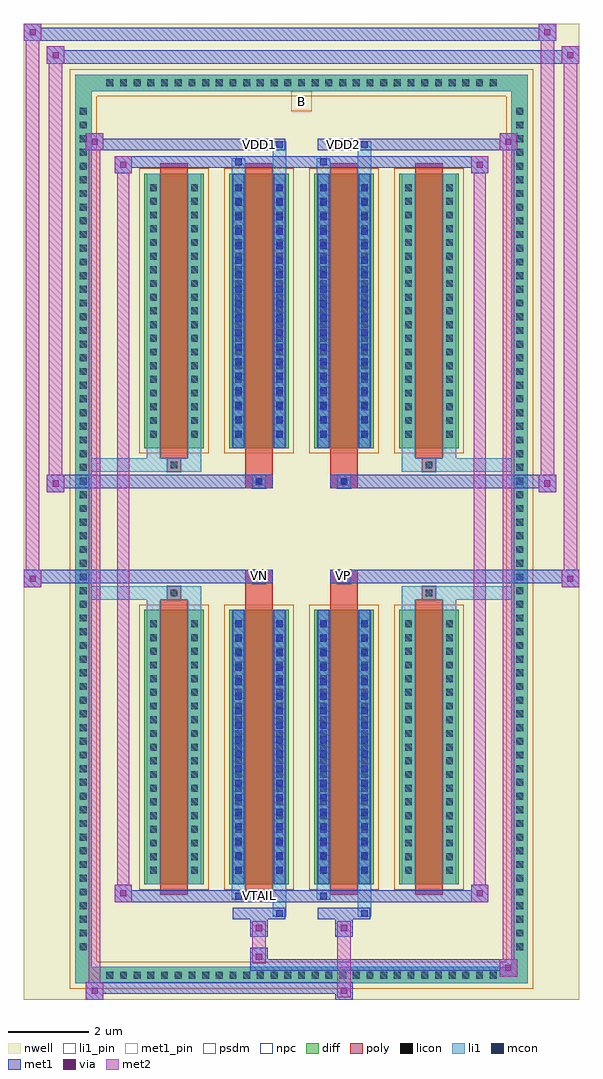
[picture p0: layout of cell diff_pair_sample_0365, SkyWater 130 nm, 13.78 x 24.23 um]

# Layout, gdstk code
import gdstk
lib = gdstk.Library(unit=1e-6, precision=5e-09)
def R(c, l, rs):  # rectangles x0, y0, x1, y1
    for r in rs: c.add(gdstk.rectangle(r[:2], r[2:], *l))
def A(c, l, x, y, w, h, nx, ny, dx, dy):  # array of equal rectangles
    R(c, l, [(x+i*dx, y+j*dy, x+i*dx+w, y+j*dy+h) for i in range(nx) for j in range(ny)])
def P(c, l, *ps):  # polygons
    for p in ps: c.add(gdstk.Polygon(p, *l))
nwell = (64, 20)
diff = (65, 20)
poly = (66, 20)
licon = (66, 44)
li1_pin = (67, 16)
li1 = (67, 20)
mcon = (67, 44)
met1_pin = (68, 16)
met1 = (68, 20)
via = (68, 44)
met2 = (69, 20)
psdm = (94, 20)
npc = (95, 20)

diff_pair_sample_0365 = lib.new_cell('diff_pair_sample_0365')
R(diff_pair_sample_0365, nwell, [(-6.89,-11.68,6.89,12.55), (-4.21,-9.87,-0.01,-0.815), (0.01,-9.87,4.21,-0.815), (-4.21,0.815,-0.01,9.87), (0.01,0.815,4.21,9.87)])
A(diff_pair_sample_0365, diff, -4.965, -11.28, 0.41, 0.41, 29, 2, 0.34, 22.15)
A(diff_pair_sample_0365, diff, -5.62, -10.575, 0.41, 0.41, 1, 62, 0, 0.34)
A(diff_pair_sample_0365, diff, 5.21, -10.575, 0.41, 0.41, 1, 62, 0, 0.34)
A(diff_pair_sample_0365, diff, -3.9, -8.825, 1.47, 6.82, 4, 2, 2.11, 10.83)
R(diff_pair_sample_0365, diff, [(-4.965,-11.28,4.965,-10.87), (-5.62,-10.575,-5.21,10.575), (5.21,-10.575,5.62,10.575), (-4.965,10.87,4.965,11.28)])
P(diff_pair_sample_0365, diff, [(5.62,11.28),(-5.62,11.28),(-5.62,-10.87),(-5.21,-10.87),(-5.21,10.87),(5.21,10.87),(5.21,-10.87),(-5.21,-10.87),(-5.62,-10.87),(-5.62,-11.28),(5.62,-11.28)])
A(diff_pair_sample_0365, poly, -3.51, -9.075, 0.69, 7.32, 4, 2, 2.11, 10.83)
R(diff_pair_sample_0365, poly, [(-3.33,-1.755,-3,-1.425), (-3.33,-1.755,-3,-1.425), (-1.4,-1.755,-0.71,-1.345), (0.71,-1.755,1.4,-1.345), (3,-1.755,3.33,-1.425), (3,-1.755,3.33,-1.425), (-1.4,-1.345,-0.71,-1.015), (-1.22,-1.345,-0.89,-1.015), (0.71,-1.345,1.4,-1.015), (0.89,-1.345,1.22,-1.015), (-1.4,1.015,-0.71,1.345), (-1.22,1.015,-0.89,1.345), (0.71,1.015,1.4,1.345), (0.89,1.015,1.22,1.345), (-1.4,1.345,-0.71,1.755), (0.71,1.345,1.4,1.755), (-3.33,1.425,-3,1.755), (-3.33,1.425,-3,1.755), (3,1.425,3.33,1.755), (3,1.425,3.33,1.755)])
A(diff_pair_sample_0365, licon, -4.845, -11.16, 0.17, 0.17, 29, 2, 0.34, 22.15)
A(diff_pair_sample_0365, licon, -5.5, -10.455, 0.17, 0.17, 1, 62, 0, 0.34)
A(diff_pair_sample_0365, licon, 5.33, -10.455, 0.17, 0.17, 1, 62, 0, 0.34)
A(diff_pair_sample_0365, licon, -3.76, -8.56, 0.17, 0.17, 1, 19, 0, 0.34)
A(diff_pair_sample_0365, licon, -2.74, -8.56, 0.17, 0.17, 1, 19, 0, 0.34)
A(diff_pair_sample_0365, licon, -1.65, -8.56, 0.17, 0.17, 1, 19, 0, 0.34)
A(diff_pair_sample_0365, licon, -0.63, -8.56, 0.17, 0.17, 1, 19, 0, 0.34)
A(diff_pair_sample_0365, licon, 0.46, -8.56, 0.17, 0.17, 1, 19, 0, 0.34)
A(diff_pair_sample_0365, licon, 1.48, -8.56, 0.17, 0.17, 1, 19, 0, 0.34)
A(diff_pair_sample_0365, licon, 2.57, -8.56, 0.17, 0.17, 1, 19, 0, 0.34)
A(diff_pair_sample_0365, licon, 3.59, -8.56, 0.17, 0.17, 1, 19, 0, 0.34)
A(diff_pair_sample_0365, licon, -3.76, 2.27, 0.17, 0.17, 1, 19, 0, 0.34)
A(diff_pair_sample_0365, licon, -2.74, 2.27, 0.17, 0.17, 1, 19, 0, 0.34)
A(diff_pair_sample_0365, licon, -1.65, 2.27, 0.17, 0.17, 1, 19, 0, 0.34)
A(diff_pair_sample_0365, licon, -0.63, 2.27, 0.17, 0.17, 1, 19, 0, 0.34)
A(diff_pair_sample_0365, licon, 0.46, 2.27, 0.17, 0.17, 1, 19, 0, 0.34)
A(diff_pair_sample_0365, licon, 1.48, 2.27, 0.17, 0.17, 1, 19, 0, 0.34)
A(diff_pair_sample_0365, licon, 2.57, 2.27, 0.17, 0.17, 1, 19, 0, 0.34)
A(diff_pair_sample_0365, licon, 3.59, 2.27, 0.17, 0.17, 1, 19, 0, 0.34)
R(diff_pair_sample_0365, licon, [(-3.25,-1.675,-3.08,-1.505), (3.08,-1.675,3.25,-1.505), (-1.14,-1.265,-0.97,-1.095), (0.97,-1.265,1.14,-1.095), (-1.14,1.095,-0.97,1.265), (0.97,1.095,1.14,1.265), (-3.25,1.505,-3.08,1.675), (3.08,1.505,3.25,1.675)])
R(diff_pair_sample_0365, li1_pin, [(-0.25,10.37,0.25,10.87)])
A(diff_pair_sample_0365, li1, -4.925, -11.24, 0.33, 0.33, 29, 2, 0.34, 22.15)
A(diff_pair_sample_0365, li1, -5.58, -10.535, 0.33, 0.33, 1, 62, 0, 0.34)
A(diff_pair_sample_0365, li1, 5.25, -10.535, 0.33, 0.33, 1, 62, 0, 0.34)
A(diff_pair_sample_0365, li1, -3.84, -8.64, 0.33, 0.33, 1, 19, 0, 0.34)
A(diff_pair_sample_0365, li1, -2.82, -8.64, 0.33, 0.33, 1, 19, 0, 0.34)
A(diff_pair_sample_0365, li1, -1.73, -8.64, 0.33, 0.33, 1, 19, 0, 0.34)
A(diff_pair_sample_0365, li1, -0.71, -8.64, 0.33, 0.33, 1, 19, 0, 0.34)
A(diff_pair_sample_0365, li1, 0.38, -8.64, 0.33, 0.33, 1, 19, 0, 0.34)
A(diff_pair_sample_0365, li1, 1.4, -8.64, 0.33, 0.33, 1, 19, 0, 0.34)
A(diff_pair_sample_0365, li1, 2.49, -8.64, 0.33, 0.33, 1, 19, 0, 0.34)
A(diff_pair_sample_0365, li1, 3.51, -8.64, 0.33, 0.33, 1, 19, 0, 0.34)
A(diff_pair_sample_0365, li1, -1.65, -8.56, 0.17, 0.17, 1, 18, 0, 0.36)
A(diff_pair_sample_0365, li1, -0.63, -8.56, 0.17, 0.17, 1, 18, 0, 0.36)
A(diff_pair_sample_0365, li1, 0.46, -8.56, 0.17, 0.17, 1, 18, 0, 0.36)
A(diff_pair_sample_0365, li1, 1.48, -8.56, 0.17, 0.17, 1, 18, 0, 0.36)
A(diff_pair_sample_0365, li1, -3.84, 2.19, 0.33, 0.33, 1, 19, 0, 0.34)
A(diff_pair_sample_0365, li1, -2.82, 2.19, 0.33, 0.33, 1, 19, 0, 0.34)
A(diff_pair_sample_0365, li1, -1.73, 2.19, 0.33, 0.33, 1, 19, 0, 0.34)
A(diff_pair_sample_0365, li1, -0.71, 2.19, 0.33, 0.33, 1, 19, 0, 0.34)
A(diff_pair_sample_0365, li1, 0.38, 2.19, 0.33, 0.33, 1, 19, 0, 0.34)
A(diff_pair_sample_0365, li1, 1.4, 2.19, 0.33, 0.33, 1, 19, 0, 0.34)
A(diff_pair_sample_0365, li1, 2.49, 2.19, 0.33, 0.33, 1, 19, 0, 0.34)
A(diff_pair_sample_0365, li1, 3.51, 2.19, 0.33, 0.33, 1, 19, 0, 0.34)
A(diff_pair_sample_0365, li1, -1.65, 2.27, 0.17, 0.17, 1, 18, 0, 0.36)
A(diff_pair_sample_0365, li1, -0.63, 2.27, 0.17, 0.17, 1, 18, 0, 0.36)
A(diff_pair_sample_0365, li1, 0.46, 2.27, 0.17, 0.17, 1, 18, 0, 0.36)
A(diff_pair_sample_0365, li1, 1.48, 2.27, 0.17, 0.17, 1, 18, 0, 0.36)
R(diff_pair_sample_0365, li1, [(-5.62,-11.28,-5.21,-10.87), (-5.62,-11.28,-5.21,-10.87), (-5.21,-11.28,5.21,-10.87), (5.21,-11.28,5.62,-10.87), (5.21,-11.28,5.62,-10.87), (-5.62,-10.87,-5.21,10.87), (5.21,-10.87,5.62,10.87), (-0.71,-9.63,-0.38,-8.825), (-0.63,-9.63,-0.46,-9.46), (1.4,-9.63,1.73,-8.825), (1.48,-9.63,1.65,-9.46), (-1.73,-9.2,-1.4,-8.825), (-1.65,-9.2,-1.48,-9.03), (0.38,-9.2,0.71,-8.825), (0.46,-9.2,0.63,-9.03), (-3.84,-8.825,-3.51,-2.005), (-2.82,-8.825,-2.49,-2.005), (-1.73,-8.825,-1.4,-2.005), (-0.71,-8.825,-0.38,-2.005), (0.38,-8.825,0.71,-2.005), (1.4,-8.825,1.73,-2.005), (2.49,-8.825,2.82,-2.005), (3.51,-8.825,3.84,-2.005), (-1.65,-8.56,-1.48,-2.27), (-0.63,-8.56,-0.46,-2.27), (0.46,-8.56,0.63,-2.27), (1.48,-8.56,1.65,-2.27), (-3.84,-2.005,-3.51,-1.425), (-2.82,-2.005,-2.49,-1.425), (2.49,-2.005,2.82,-1.425), (3.51,-2.005,3.84,-1.425), (-5.62,-1.755,-3.33,-1.425), (-3.84,-1.755,-3.33,-1.425), (-3.33,-1.755,-3,-1.425), (-3,-1.755,-2.49,-1.425), (2.49,-1.755,3,-1.425), (3,-1.755,3.33,-1.425), (3,-1.755,5.62,-1.425), (3.33,-1.755,3.84,-1.425), (-1.22,-1.345,-0.89,-1.015), (0.89,-1.345,1.22,-1.015), (-1.22,1.015,-0.89,1.345), (0.89,1.015,1.22,1.345), (-5.62,1.425,-3.33,1.755), (-3.84,1.425,-3.33,1.755), (-3.84,1.425,-3.51,2.005), (-3.33,1.425,-3,1.755), (-3,1.425,-2.49,1.755), (-2.82,1.425,-2.49,2.005), (2.49,1.425,3,1.755), (2.49,1.425,2.82,2.005), (3,1.425,3.33,1.755), (3,1.425,5.62,1.755), (3.33,1.425,3.84,1.755), (3.51,1.425,3.84,2.005), (-3.84,2.005,-3.51,8.825), (-2.82,2.005,-2.49,8.825), (-1.73,2.005,-1.4,8.825), (-0.71,2.005,-0.38,8.825), (0.38,2.005,0.71,8.825), (1.4,2.005,1.73,8.825), (2.49,2.005,2.82,8.825), (3.51,2.005,3.84,8.825), (-1.65,2.27,-1.48,8.56), (-0.63,2.27,-0.46,8.56), (0.46,2.27,0.63,8.56), (1.48,2.27,1.65,8.56), (-1.73,8.825,-1.4,9.2), (-0.71,8.825,-0.38,9.63), (0.38,8.825,0.71,9.2), (1.4,8.825,1.73,9.63), (-1.65,9.03,-1.48,9.2), (0.46,9.03,0.63,9.2), (-0.63,9.46,-0.46,9.63), (1.48,9.46,1.65,9.63), (-5.62,10.87,-5.21,11.28), (-5.62,10.87,-5.21,11.28), (-5.21,10.87,5.21,11.28), (5.21,10.87,5.62,11.28), (5.21,10.87,5.62,11.28)])
A(diff_pair_sample_0365, mcon, -1.65, -8.56, 0.17, 0.17, 1, 18, 0, 0.36)
A(diff_pair_sample_0365, mcon, -0.63, -8.56, 0.17, 0.17, 1, 18, 0, 0.36)
A(diff_pair_sample_0365, mcon, 0.46, -8.56, 0.17, 0.17, 1, 18, 0, 0.36)
A(diff_pair_sample_0365, mcon, 1.48, -8.56, 0.17, 0.17, 1, 18, 0, 0.36)
A(diff_pair_sample_0365, mcon, -1.65, 2.27, 0.17, 0.17, 1, 18, 0, 0.36)
A(diff_pair_sample_0365, mcon, -0.63, 2.27, 0.17, 0.17, 1, 18, 0, 0.36)
A(diff_pair_sample_0365, mcon, 0.46, 2.27, 0.17, 0.17, 1, 18, 0, 0.36)
A(diff_pair_sample_0365, mcon, 1.48, 2.27, 0.17, 0.17, 1, 18, 0, 0.36)
R(diff_pair_sample_0365, mcon, [(-0.63,-9.63,-0.46,-9.46), (1.48,-9.63,1.65,-9.46), (-1.65,-9.2,-1.48,-9.03), (0.46,-9.2,0.63,-9.03), (-1.14,-1.265,-0.97,-1.095), (0.97,-1.265,1.14,-1.095), (-1.14,1.095,-0.97,1.265), (0.97,1.095,1.14,1.265), (-1.65,9.03,-1.48,9.2), (0.46,9.03,0.63,9.2), (-0.63,9.46,-0.46,9.63), (1.48,9.46,1.65,9.63)])
R(diff_pair_sample_0365, met1_pin, [(-1.19,-9.24,-0.92,-8.97), (-1.19,-1.285,-0.92,-1.015), (0.92,-1.285,1.19,-1.015), (-1.19,9.42,-0.92,9.69), (0.92,9.42,1.19,9.69)])
A(diff_pair_sample_0365, met1, -1.71, -8.62, 0.29, 0.29, 1, 18, 0, 0.36)
A(diff_pair_sample_0365, met1, -0.69, -8.62, 0.29, 0.29, 1, 18, 0, 0.36)
A(diff_pair_sample_0365, met1, 0.4, -8.62, 0.29, 0.29, 1, 18, 0, 0.36)
A(diff_pair_sample_0365, met1, 1.42, -8.62, 0.29, 0.29, 1, 18, 0, 0.36)
A(diff_pair_sample_0365, met1, -1.71, 2.21, 0.29, 0.29, 1, 18, 0, 0.36)
A(diff_pair_sample_0365, met1, -0.69, 2.21, 0.29, 0.29, 1, 18, 0, 0.36)
A(diff_pair_sample_0365, met1, 0.4, 2.21, 0.29, 0.29, 1, 18, 0, 0.36)
A(diff_pair_sample_0365, met1, 1.42, 2.21, 0.29, 0.29, 1, 18, 0, 0.36)
R(diff_pair_sample_0365, met1, [(-5.35,-11.68,-4.92,-11.25), (0.84,-11.68,1.27,-11.25), (-5.35,-11.54,1.27,-11.25), (4.92,-11.11,5.35,-10.68), (-1.27,-10.97,5.35,-10.68), (-1.27,-10.83,-0.84,-10.4), (-1.27,-10.12,-0.84,-9.69), (0.84,-10.12,1.27,-9.69), (-1.71,-9.69,-0.4,-9.4), (-0.69,-9.69,-0.4,-9.4), (0.4,-9.69,1.71,-9.4), (1.42,-9.69,1.71,-9.4), (-4.64,-9.26,-4.21,-8.83), (-4.64,-9.26,-1.71,-8.97), (-1.71,-9.26,-1.42,-8.97), (-1.71,-9.26,-0.4,-8.97), (-0.4,-9.26,0.4,-8.97), (0.4,-9.26,0.69,-8.97), (0.4,-9.26,1.71,-8.97), (1.71,-9.26,4.64,-8.97), (4.21,-9.26,4.64,-8.83), (-1.71,-8.825,-1.42,-2.005), (-0.69,-8.825,-0.4,-2.005), (0.4,-8.825,0.69,-2.005), (1.42,-8.825,1.71,-2.005), (-6.89,-1.445,-6.46,-1.015), (6.46,-1.445,6.89,-1.015), (-6.89,-1.345,-0.71,-1.015), (-1.4,-1.345,-0.71,-1.015), (0.71,-1.345,1.4,-1.015), (0.71,-1.345,6.89,-1.015), (-1.2,-1.325,-0.91,-1.035), (0.91,-1.325,1.2,-1.035), (-6.32,0.915,-5.89,1.345), (5.89,0.915,6.32,1.345), (-6.32,1.015,-1.4,1.345), (-1.4,1.015,-0.71,1.345), (0.71,1.015,1.4,1.345), (1.4,1.015,6.32,1.345), (-1.2,1.035,-0.91,1.325), (0.91,1.035,1.2,1.325), (-1.71,2.005,-1.42,8.825), (-0.69,2.005,-0.4,8.825), (0.4,2.005,0.69,8.825), (1.42,2.005,1.71,8.825), (-4.64,8.83,-4.21,9.26), (4.21,8.83,4.64,9.26), (-4.64,8.97,-1.71,9.26), (-1.71,8.97,-1.42,9.26), (-1.71,8.97,-0.4,9.26), (-0.4,8.97,0.4,9.26), (0.4,8.97,0.69,9.26), (0.4,8.97,1.71,9.26), (1.71,8.97,4.64,9.26), (-5.35,9.4,-4.92,9.83), (-5.35,9.4,-1.71,9.69), (-1.71,9.4,-0.4,9.69), (-0.69,9.4,-0.4,9.69), (0.4,9.4,1.71,9.69), (1.42,9.4,1.71,9.69), (1.71,9.4,5.35,9.69), (4.92,9.4,5.35,9.83), (-6.32,11.55,-5.89,11.98), (-6.32,11.55,-4.21,11.88), (-4.21,11.55,4.21,11.88), (4.21,11.55,6.89,11.88), (6.46,11.55,6.89,11.98), (-6.89,12.12,-6.46,12.55), (-6.89,12.12,-4.21,12.45), (-4.21,12.12,4.21,12.45), (4.21,12.12,6.32,12.45), (5.89,12.12,6.32,12.55)])
R(diff_pair_sample_0365, via, [(-5.21,-11.54,-5.06,-11.39), (0.98,-11.54,1.13,-11.39), (5.06,-10.97,5.21,-10.82), (-1.13,-10.69,-0.98,-10.54), (-1.13,-9.98,-0.98,-9.83), (0.98,-9.98,1.13,-9.83), (-4.5,-9.12,-4.35,-8.97), (4.35,-9.12,4.5,-8.97), (-6.75,-1.305,-6.6,-1.155), (6.6,-1.305,6.75,-1.155), (-6.18,1.055,-6.03,1.205), (6.03,1.055,6.18,1.205), (-4.5,8.97,-4.35,9.12), (4.35,8.97,4.5,9.12), (-5.21,9.54,-5.06,9.69), (5.06,9.54,5.21,9.69), (-6.18,11.69,-6.03,11.84), (6.6,11.69,6.75,11.84), (-6.75,12.26,-6.6,12.41), (6.03,12.26,6.18,12.41)])
R(diff_pair_sample_0365, met2, [(-5.35,-11.68,-4.92,-11.25), (-5.28,-11.68,-4.99,9.83), (-4.99,-11.68,-4.92,-11.25), (-5.3,-11.63,-4.97,-11.3), (0.89,-11.63,1.22,-11.3), (0.89,-11.3,1.22,-10.07), (4.92,-11.11,5.35,-10.68), (4.99,-11.11,5.28,9.83), (5.28,-11.11,5.35,-10.68), (4.97,-11.06,5.3,-10.73), (-1.22,-10.78,-0.89,-10.45), (-1.22,-10.45,-0.89,-10.07), (-1.22,-10.07,-0.89,-9.74), (0.89,-10.07,1.22,-9.74), (-4.64,-9.26,-4.21,-8.83), (-4.57,-9.26,-4.28,9.26), (-4.28,-9.26,-4.21,-8.83), (4.21,-9.26,4.64,-8.83), (4.28,-9.26,4.57,9.26), (4.57,-9.26,4.64,-8.83), (-4.59,-9.21,-4.26,-8.88), (4.26,-9.21,4.59,-8.88), (-6.89,-1.445,-6.46,-1.015), (-6.84,-1.445,-6.51,12.55), (-6.51,-1.445,-6.46,-1.015), (6.46,-1.445,6.89,-1.015), (6.51,-1.445,6.84,11.98), (6.84,-1.445,6.89,-1.015), (-6.84,-1.395,-6.51,-1.065), (6.51,-1.395,6.84,-1.065), (-6.32,0.915,-5.89,1.345), (-6.27,0.915,-5.94,11.98), (-5.94,0.915,-5.89,1.345), (5.89,0.915,6.32,1.345), (5.94,0.915,6.27,12.55), (6.27,0.915,6.32,1.345), (-6.27,0.965,-5.94,1.295), (5.94,0.965,6.27,1.295), (-4.64,8.83,-4.21,9.26), (-4.28,8.83,-4.21,9.26), (4.21,8.83,4.64,9.26), (4.57,8.83,4.64,9.26), (-4.59,8.88,-4.26,9.21), (4.26,8.88,4.59,9.21), (-5.35,9.4,-4.92,9.83), (-4.99,9.4,-4.92,9.83), (4.92,9.4,5.35,9.83), (5.28,9.4,5.35,9.83), (-5.3,9.45,-4.97,9.78), (4.97,9.45,5.3,9.78), (-6.32,11.55,-5.89,11.98), (-5.94,11.55,-5.89,11.98), (6.46,11.55,6.89,11.98), (6.84,11.55,6.89,11.98), (-6.27,11.6,-5.94,11.93), (6.51,11.6,6.84,11.93), (-6.89,12.12,-6.46,12.55), (-6.51,12.12,-6.46,12.55), (5.89,12.12,6.32,12.55), (6.27,12.12,6.32,12.55), (-6.84,12.17,-6.51,12.5), (5.94,12.17,6.27,12.5)])
A(diff_pair_sample_0365, psdm, -4.03, -8.955, 1.73, 7.08, 4, 2, 2.11, 10.83)
P(diff_pair_sample_0365, psdm, [(5.75,11.41),(-5.75,11.41),(-5.75,-10.74),(-5.08,-10.74),(-5.08,10.74),(5.08,10.74),(5.08,-10.74),(-5.08,-10.74),(-5.75,-10.74),(-5.75,-11.41),(5.75,-11.41)])
R(diff_pair_sample_0365, npc, [(-3.35,-1.775,-2.98,-1.405), (2.98,-1.775,3.35,-1.405), (-1.24,-1.365,-0.87,-0.995), (0.87,-1.365,1.24,-0.995), (-1.24,0.995,-0.87,1.365), (0.87,0.995,1.24,1.365), (-3.35,1.405,-2.98,1.775), (2.98,1.405,3.35,1.775)])
diff_pair_sample_0365.add(gdstk.Label('VTAIL', (-1.055,-9.105), layer=68, texttype=5))
diff_pair_sample_0365.add(gdstk.Label('VN', (-1.055,-1.15), layer=68, texttype=5))
diff_pair_sample_0365.add(gdstk.Label('VP', (1.055,-1.15), layer=68, texttype=5))
diff_pair_sample_0365.add(gdstk.Label('B', (0,10.62), layer=67, texttype=5))
diff_pair_sample_0365.add(gdstk.Label('VDD2', (1.055,9.555), layer=68, texttype=5))
diff_pair_sample_0365.add(gdstk.Label('VDD1', (-1.055,9.555), layer=68, texttype=5))

lib.write_gds('diff_pair_sample_0365.gds')
